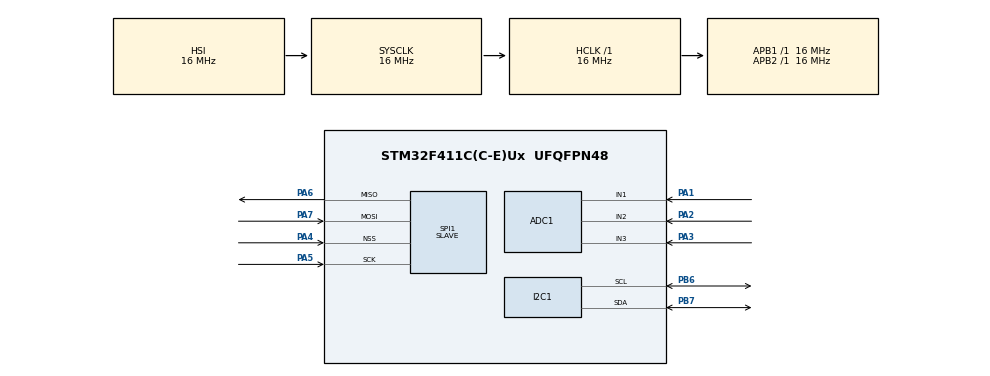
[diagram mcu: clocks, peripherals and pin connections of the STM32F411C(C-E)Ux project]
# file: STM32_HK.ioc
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ADC1.Channel-0\#ChannelRegularConversion=ADC_CHANNEL_1
ADC1.NbrOfConversionFlag=1
ADC1.Rank-0\#ChannelRegularConversion=1
ADC1.SamplingTime-0\#ChannelRegularConversion=ADC_SAMPLETIME_3CYCLES
ADC1.ScanConvMode=ENABLE
ADC1.master=1
Dma.Request0=SPI1_RX
Dma.Request1=SPI1_TX
Dma.SPI1_RX.0.Direction=DMA_PERIPH_TO_MEMORY
Dma.SPI1_RX.0.FIFOMode=DMA_FIFOMODE_DISABLE
Dma.SPI1_RX.0.Instance=DMA2_Stream0
Dma.SPI1_RX.0.MemDataAlignment=DMA_MDATAALIGN_BYTE
Dma.SPI1_RX.0.MemInc=DMA_MINC_ENABLE
Dma.SPI1_RX.0.Mode=DMA_NORMAL
Dma.SPI1_RX.0.PeriphDataAlignment=DMA_PDATAALIGN_BYTE
Dma.SPI1_RX.0.PeriphInc=DMA_PINC_DISABLE
Dma.SPI1_RX.0.Priority=DMA_PRIORITY_LOW
Dma.SPI1_TX.1.Direction=DMA_MEMORY_TO_PERIPH
Dma.SPI1_TX.1.FIFOMode=DMA_FIFOMODE_DISABLE
Dma.SPI1_TX.1.Instance=DMA2_Stream2
Dma.SPI1_TX.1.MemDataAlignment=DMA_MDATAALIGN_BYTE
Dma.SPI1_TX.1.MemInc=DMA_MINC_ENABLE
Dma.SPI1_TX.1.Mode=DMA_NORMAL
Dma.SPI1_TX.1.PeriphDataAlignment=DMA_PDATAALIGN_BYTE
Dma.SPI1_TX.1.PeriphInc=DMA_PINC_DISABLE
Dma.SPI1_TX.1.Priority=DMA_PRIORITY_LOW
FREERTOS.Tasks01=defaultTask,24,128,StartDefaultTask,Default,NULL,Dynamic,NULL,NULL
FREERTOS.configCHECK_FOR_STACK_OVERFLOW=2
FREERTOS.configUSE_MALLOC_FAILED_HOOK=1
Mcu.Family=STM32F4
Mcu.Name=STM32F411C(C-E)Ux
Mcu.Package=UFQFPN48
NVIC.DMA2_Stream0_IRQn=true\:5\:0\:false\:false\:true\:true\:false\:true\:true
NVIC.DMA2_Stream2_IRQn=true\:5\:0\:false\:false\:true\:true\:false\:true\:true
NVIC.PriorityGroup=NVIC_PRIORITYGROUP_4
NVIC.SPI1_IRQn=true\:5\:0\:false\:false\:true\:true\:true\:true\:true
PA1.Signal=ADCx_IN1
PA2.Signal=ADCx_IN2
PA3.Signal=ADCx_IN3
PA4.Mode=NSS_Signal_Hard_Input
PA4.Signal=SPI1_NSS
PA5.Mode=Full_Duplex_Slave
PA5.Signal=SPI1_SCK
PA6.Mode=Full_Duplex_Slave
PA6.Signal=SPI1_MISO
PA7.Mode=Full_Duplex_Slave
PA7.Signal=SPI1_MOSI
PB6.Mode=I2C
PB6.Signal=I2C1_SCL
PB7.Mode=I2C
PB7.Signal=I2C1_SDA
ProjectManager.HeapSize=0x200
ProjectManager.StackSize=0x400
ProjectManager.TargetToolchain=STM32CubeIDE
RCC.AHBFreq_Value=16000000
RCC.APB1Freq_Value=16000000
RCC.APB2Freq_Value=16000000
RCC.CortexFreq_Value=16000000
RCC.HSE_VALUE=25000000
RCC.HSI_VALUE=16000000
RCC.LSE_VALUE=32768
RCC.SYSCLKFreq_VALUE=16000000
RCC.VCOOutputFreq_Value=192000000
SH.ADCx_IN1.0=ADC1_IN1,IN1
SH.ADCx_IN2.0=ADC1_IN2,IN2
SH.ADCx_IN3.0=ADC1_IN3,IN3
SPI1.Direction=SPI_DIRECTION_2LINES
SPI1.Mode=SPI_MODE_SLAVE
SPI1.VirtualNSS=VM_NSSHARD
SPI1.VirtualType=VM_SLAVE
VP_FREERTOS_VS_CMSIS_V2.Mode=CMSIS_V2
board=custom

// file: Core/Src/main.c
/* USER CODE BEGIN Header */
/**
  ******************************************************************************
  * @file           : main.c
  * @brief          : Main program body
  ******************************************************************************
  * @attention
  *
  * Copyright (c) 2026 STMicroelectronics.
  * All rights reserved.
  *
  * This software is licensed under terms that can be found in the LICENSE file
  * in the root directory of this software component.
  * If no LICENSE file comes with this software, it is provided AS-IS.
  *
  ******************************************************************************
  */
/* USER CODE END Header */
#include "main.h"
#include "cmsis_os.h"
#include "adc.h"
#include "dma.h"
#include "i2c.h"
#include "spi.h"
#include "gpio.h"

/* USER CODE BEGIN Includes */
#include <stdio.h>
/* USER CODE END Includes */

void SystemClock_Config(void);
void MX_FREERTOS_Init(void);

int main(void)
{

  /* MCU Configuration--------------------------------------------------------*/

  /* Reset of all peripherals, Initializes the Flash interface and the Systick. */
  HAL_Init();

  /* Configure the system clock */
  SystemClock_Config();

  /* Initialize all configured peripherals */
  MX_GPIO_Init();
  MX_DMA_Init();
  MX_ADC1_Init();
  MX_I2C1_Init();
  MX_SPI1_Init();

  /* Init scheduler */
  osKernelInitialize();  /* Call init function for freertos objects (in cmsis_os2.c) */
  MX_FREERTOS_Init();

  /* Start scheduler */
  osKernelStart();

  /* We should never get here as control is now taken by the scheduler */

  /* Infinite loop */
  while (1)
  {

  }
}

void SystemClock_Config(void)
{
  RCC_OscInitTypeDef RCC_OscInitStruct = {0};
  RCC_ClkInitTypeDef RCC_ClkInitStruct = {0};

  /** Configure the main internal regulator output voltage
  */
  __HAL_RCC_PWR_CLK_ENABLE();
  __HAL_PWR_VOLTAGESCALING_CONFIG(PWR_REGULATOR_VOLTAGE_SCALE1);

  /** Initializes the RCC Oscillators according to the specified parameters
  * in the RCC_OscInitTypeDef structure.
  */
  RCC_OscInitStruct.OscillatorType = RCC_OSCILLATORTYPE_HSI;
  RCC_OscInitStruct.HSIState = RCC_HSI_ON;
  RCC_OscInitStruct.HSICalibrationValue = RCC_HSICALIBRATION_DEFAULT;
  RCC_OscInitStruct.PLL.PLLState = RCC_PLL_NONE;
  if (HAL_RCC_OscConfig(&RCC_OscInitStruct) != HAL_OK)
  {
    Error_Handler();
  }

  /** Initializes the CPU, AHB and APB buses clocks
  */
  RCC_ClkInitStruct.ClockType = RCC_CLOCKTYPE_HCLK|RCC_CLOCKTYPE_SYSCLK
                              |RCC_CLOCKTYPE_PCLK1|RCC_CLOCKTYPE_PCLK2;
  RCC_ClkInitStruct.SYSCLKSource = RCC_SYSCLKSOURCE_HSI;
  RCC_ClkInitStruct.AHBCLKDivider = RCC_SYSCLK_DIV1;
  RCC_ClkInitStruct.APB1CLKDivider = RCC_HCLK_DIV1;
  RCC_ClkInitStruct.APB2CLKDivider = RCC_HCLK_DIV1;

  if (HAL_RCC_ClockConfig(&RCC_ClkInitStruct, FLASH_LATENCY_0) != HAL_OK)
  {
    Error_Handler();
  }
}

void Error_Handler(void)
{
  __disable_irq();
  while (1)
  {
  }
}

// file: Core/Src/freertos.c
/* USER CODE BEGIN Header */
/**
  ******************************************************************************
  * File Name          : freertos.c
  * Description        : Code for freertos applications
  ******************************************************************************
  * @attention
  *
  * Copyright (c) 2026 STMicroelectronics.
  * All rights reserved.
  *
  * This software is licensed under terms that can be found in the LICENSE file
  * in the root directory of this software component.
  * If no LICENSE file comes with this software, it is provided AS-IS.
  *
  ******************************************************************************
  */
/* USER CODE END Header */

#include "FreeRTOS.h"
#include "task.h"
#include "main.h"
#include "cmsis_os.h"

/* USER CODE BEGIN Includes */
#include "i2c.h"
#include "adc.h"
#include "spi.h"

#include "i2c_manager.h"
#include "adc_manager.h"
#include "sensor_manager.h"
#include "telemetry_manager.h"
/* USER CODE END Includes */

/* Definitions for defaultTask */
osThreadId_t defaultTaskHandle;
const osThreadAttr_t defaultTask_attributes = {
  .name = "defaultTask",
  .stack_size = 128 * 4,
  .priority = (osPriority_t) osPriorityNormal,
};

void StartDefaultTask(void *argument);

void MX_FREERTOS_Init(void); /* (MISRA C 2004 rule 8.1) */

/* Hook prototypes */
void vApplicationStackOverflowHook(xTaskHandle xTask, signed char *pcTaskName);
void vApplicationMallocFailedHook(void);

/* USER CODE BEGIN 4 */
void vApplicationStackOverflowHook(xTaskHandle xTask, signed char *pcTaskName)
{
   /* Run time stack overflow checking is performed if
   configCHECK_FOR_STACK_OVERFLOW is defined to 1 or 2. This hook function is
   called if a stack overflow is detected. */
}
/* USER CODE END 4 */

/* USER CODE BEGIN 5 */
void vApplicationMallocFailedHook(void)
{
   /* vApplicationMallocFailedHook() will only be called if
   configUSE_MALLOC_FAILED_HOOK is set to 1 in FreeRTOSConfig.h. It is a hook
   function that will get called if a call to pvPortMalloc() fails.
   pvPortMalloc() is called internally by the kernel whenever a task, queue,
   timer or semaphore is created. It is also called by various parts of the
   demo application. If heap_1.c or heap_2.c are used, then the size of the
   heap available to pvPortMalloc() is defined by configTOTAL_HEAP_SIZE in
   FreeRTOSConfig.h, and the xPortGetFreeHeapSize() API function can be used
   to query the size of free heap space that remains (although it does not
   provide information on how the remaining heap might be fragmented). */
}
/* USER CODE END 5 */

void MX_FREERTOS_Init(void) {

  /* Create the thread(s) */
  /* creation of defaultTask */
  defaultTaskHandle = osThreadNew(StartDefaultTask, NULL, &defaultTask_attributes);

}

void StartDefaultTask(void *argument)
{
  /* USER CODE BEGIN StartDefaultTask */
	I2C_manager_init();
	ADC_manager_init();

	telemetry_manager_handle_t tlm_params = {
			.hspi = &hspi1
	};
	telemetry_manager_init(&tlm_params);

	SensorManagerHandle_t sensor_handle = {
			.hi2c = &hi2c1,
			.hadc = &hadc1
	};

	sensor_manager_init(&sensor_handle);
  /* Infinite loop */
  for(;;)
  {
    osDelay(1);
  }
  /* USER CODE END StartDefaultTask */
}
